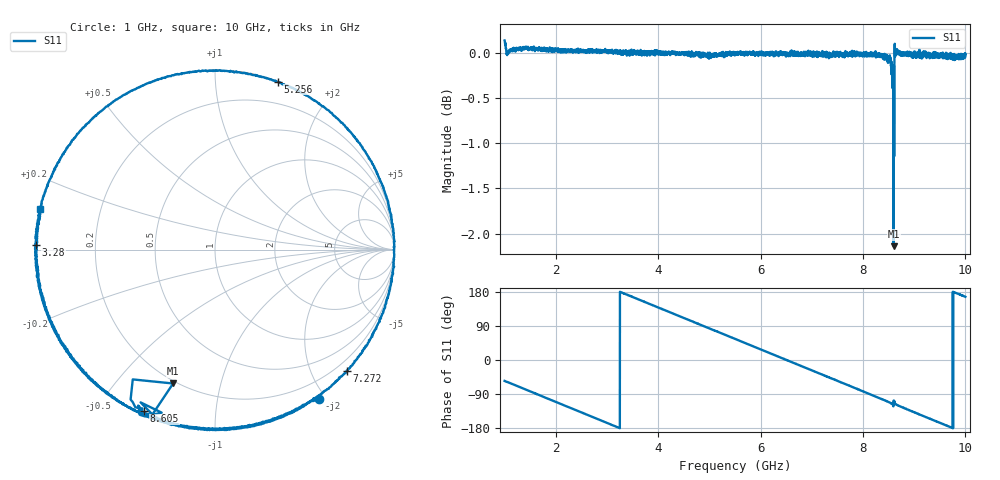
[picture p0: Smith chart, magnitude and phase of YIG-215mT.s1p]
#  HZ  S  RI  R  50.0
! Rohde & Schwarz ZVL13 2Ports - Version 3.31 - 1303.6509k13 SN: 101088
! Date: 2023-03-02 17:02:38
! Data & Calibration Information:
! Trc2:S21(Trans Norm)
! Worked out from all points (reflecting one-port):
!   4000 points, 1 GHz to 10 GHz, reference 50 ohm
!   lowest |S11| = -2.1 dB at 8.598 GHz (marker M1), VSWR 8.16, Z = 9.36 - j35.9 ohm
!   phase of S11 starts at -55 deg and turns -498 deg over the sweep
!   S11 on the Smith chart (normalised r, x): 1 GHz: -0.04, -1.92; 3.28 GHz: 0.00, +0.01; 5.256 GHz: 0.00, +1.44; 7.272 GHz: 0.01, -2.57; 8.605 GHz: 0.01, -0.65; 10 GHz: 0.00, +0.12
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1e9  0.5807 -0.8332
1.578395e9  0.0499 -1.006
1.857464e9  -0.2217 -0.9767
2.125281e9  -0.463 -0.8875
2.71943e9  -0.8715 -0.4939
2.980495e9  -0.9671 -0.2605
3.250563e9  -0.9985 -0.0002
3.27982e9  -0.9972 0.0264
3.7997e9  -0.8627 0.5035
4.375844e9  -0.4666 0.8846
4.810203e9  -0.0665 0.9921
5.255814e9  0.3513 0.9362
5.501125e9  0.5634 0.826
6.066017e9  0.9086 0.412
6.35859e9  0.9886 0.1441
6.626407e9  0.991 -0.1166
6.939235e9  0.9115 -0.4068
7.272318e9  0.735 -0.6743
7.751688e9  0.3572 -0.9295
8.19955e9  -0.0682 -0.9971
8.548387e9  -0.4054 -0.8973
8.597899e9  -0.2334 -0.746
8.604651e9  -0.396 -0.9002
8.656414e9  -0.4692 -0.8839
8.876969e9  -0.6543 -0.7529
9.43961e9  -0.9487 -0.3045
9.705176e9  -0.9946 -0.0529
1e10  -0.9717 0.2272
